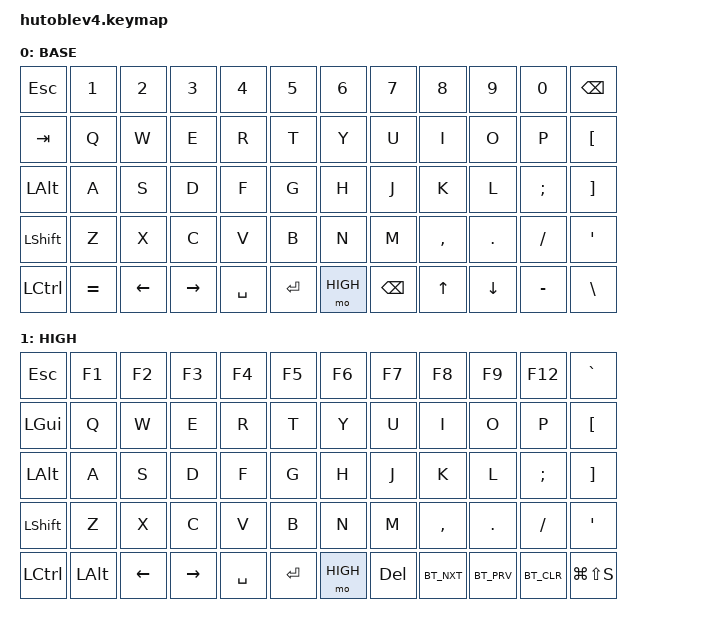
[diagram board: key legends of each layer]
#include <behaviors.dtsi>
#include <dt-bindings/zmk/keys.h>
#include <dt-bindings/zmk/bt.h>
#include <dt-bindings/zmk/outputs.h>

#define BASE 0
#define HIGH 1


/ {
   keymap {
        compatible = "zmk,keymap";
        base_layer {
            label= "BASE";
                bindings = <
                &kp ESC     &kp N1      &kp N2      &kp N3      &kp N4      &kp N5        &kp N6      &kp N7       &kp N8      &kp N9      &kp N0      &kp BSPC
                &kp TAB     &kp Q       &kp W       &kp E       &kp R       &kp T         &kp Y       &kp U        &kp I       &kp O       &kp P       &kp LBKT
                &kp LALT    &kp A       &kp S       &kp D       &kp F       &kp G         &kp H       &kp J        &kp K       &kp L       &kp SEMI    &kp RBKT
                &kp LSHIFT  &kp Z       &kp X       &kp C       &kp V       &kp B         &kp N       &kp M        &kp COMMA   &kp DOT     &kp FSLH    &kp SQT 
                &kp LCTRL   &kp EQUAL   &kp LEFT    &kp RIGHT   &kp SPACE   &kp ENTER     &mo HIGH    &kp BSPC     &kp UP      &kp DOWN    &kp MINUS   &kp BSLH 
                        >;
                  };

        high_layer {
            label= "HIGH";
                bindings = <
                &kp ESC     &kp F1      &kp F2      &kp F3      &kp F4      &kp F5        &kp F6      &kp F7       &kp F8      &kp F9      &kp F12     &kp GRAVE
                &kp LGUI    &kp Q       &kp W       &kp E       &kp R       &kp T         &kp Y       &kp U        &kp I       &kp O       &kp P       &kp LBKT
                &kp LALT    &kp A       &kp S       &kp D       &kp F       &kp G         &kp H       &kp J        &kp K       &kp L       &kp SEMI    &kp RBKT
                &kp LSHIFT  &kp Z       &kp X       &kp C       &kp V       &kp B         &kp N       &kp M        &kp COMMA   &kp DOT     &kp FSLH    &kp SQT 
                &kp LCTRL   &kp LALT    &kp LEFT    &kp RIGHT   &kp SPACE   &kp ENTER     &mo HIGH    &kp DEL      &kp BT_NXT  &kp BT_PRV  &kp BT_CLR   &kp LG(LS(S))
                       >;
                  };
        };
};
